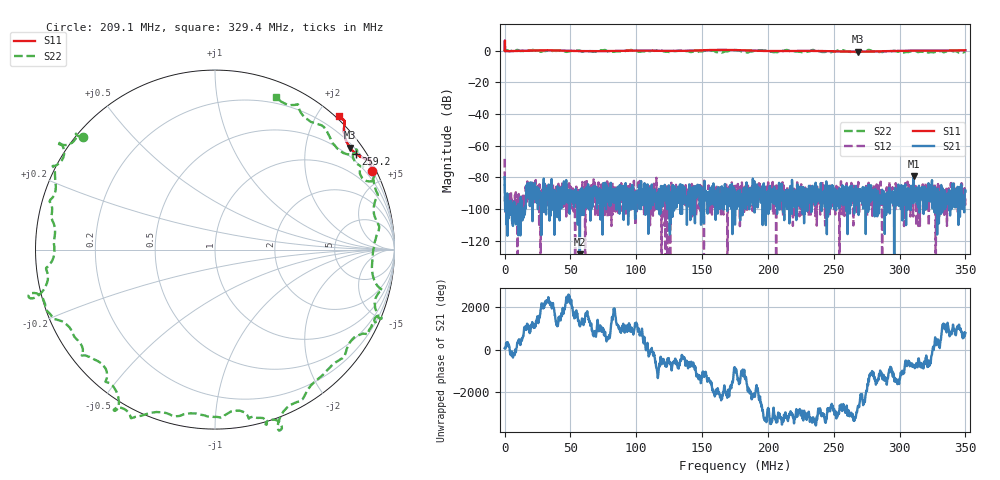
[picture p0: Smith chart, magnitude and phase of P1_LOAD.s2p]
# Hz S RI R 50
! RAW DATA - UNCALIBRATED
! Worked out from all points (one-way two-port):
!   1601 points, 30 kHz to 350 MHz, reference 50 ohm
!   highest |S21| = -79.36 dB at 310.6 MHz (marker M1); lowest = -191.3 dB at 57.12 MHz (marker M2)
!   lowest |S11| = -0.5 dB at 268.6 MHz (marker M3), VSWR 33.56, Z = 14.6 + j148 ohm
!   |S11| at or under -10 dB: nowhere
!   |S22| runs from -1.1 to 0.7 dB; largest |S21 - S12| = 0.00048
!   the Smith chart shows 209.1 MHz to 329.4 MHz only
!   S11 on the Smith chart (normalised r, x): 209.1 MHz: 0.18, +4.22; 259.2 MHz: 0.29, +3.23; 329.4 MHz: -0.05, +2.29
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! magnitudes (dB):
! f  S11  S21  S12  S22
! 30 kHz  0.5  -79.9  -68.3  0.4
! 1.999 MHz  -0.2  -90.0  -100.2  0.4
! 57.12 MHz  -0.2  -191.3  -94.8  0.2
! 58.43 MHz  -0.2  -103.8  -94.5  -0.4
! 116.8 MHz  0.0  -89.5  -89.5  0.4
! 145.3 MHz  0.2  -89.1  -85.4  -1.1
! 155.1 MHz  0.5  -89.1  -87.9  0.5
! 164.3 MHz  0.6  -95.3  -104.4  -0.8
! 175 MHz  0.5  -109.8  -104.4  0.5
! 183.8 MHz  0.3  -83.1  -98.7  -0.9
! 191.6 MHz  0.0  -84.4  -92.6  0.5
! 209.1 MHz  -0.2  -89.5  -85.6  -0.3
! 214.2 MHz  -0.1  -87.9  -94.6  0.5
! 227.3 MHz  0.0  -96.0  -92.4  -0.9
! 233.4 MHz  0.0  -90.9  -86.9  0.4
! 241.9 MHz  -0.1  -89.2  -90.3  -0.7
! 259.2 MHz  -0.4  -97.5  -93.9  -0.2
! 268.6 MHz  -0.5  -93.7  -82.9  -0.4
! 291.8 MHz  -0.1  -91.4  -92.0  -0.2
! 310.6 MHz  0.1  -79.4  -89.1  -0.3
! 329.4 MHz  0.1  -92.9  -94.1  -0.8
! 350 MHz  0.4  -89.0  -98.3  -0.4
